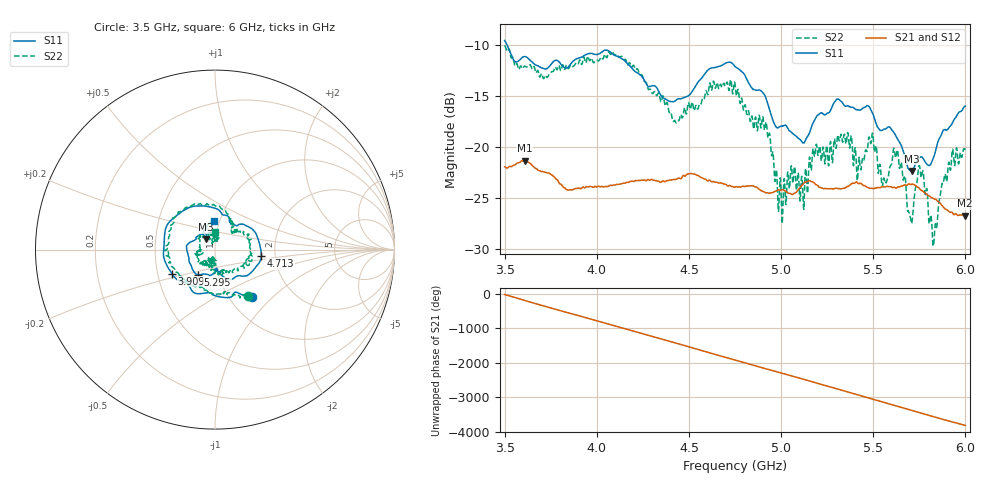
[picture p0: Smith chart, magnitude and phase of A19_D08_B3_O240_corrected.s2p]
! Created with skrf 1.9.0 (http://scikit-rf.org).
# Hz S RI R 50.0
!freq ReS11 ImS11 ReS21 ImS21 ReS12 ImS12 ReS22 ImS22
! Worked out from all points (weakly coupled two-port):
!   1601 points, 3.5 GHz to 6 GHz, reference 50 ohm
!   highest |S21| = -21.29 dB at 3.609 GHz (marker M1); lowest = -26.7 dB at 5.997 GHz (marker M2)
!   lowest |S11| = -22.3 dB at 5.709 GHz (marker M3), VSWR 1.17, Z = 45 + j5.28 ohm
!   |S11| at or under -10 dB: 3.514 GHz to end of sweep
!   |S22| runs from -29.7 to -10.0 dB; largest |S21 - S12| = 0.001
!   S11 on the Smith chart (normalised r, x): 3.5 GHz: 1.27, -0.75; 3.909 GHz: 0.59, -0.17; 4.713 GHz: 1.69, -0.13; 5.295 GHz: 0.80, -0.23; 6 GHz: 0.94, +0.31
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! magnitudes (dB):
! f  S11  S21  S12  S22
! 3.5 GHz  -9.5  -21.9  -21.9  -10.0
! 3.609 GHz  -11.1  -21.3  -21.3  -12.0
! 3.909 GHz  -11.2  -24.0  -24.0  -11.4
! 3.917 GHz  -11.2  -24.0  -24.0  -11.9
! 4.334 GHz  -14.5  -23.3  -23.3  -14.7
! 4.434 GHz  -15.3  -23.1  -23.1  -17.6
! 4.713 GHz  -11.7  -23.8  -23.8  -14.0
! 4.75 GHz  -12.1  -23.9  -23.8  -13.8
! 4.928 GHz  -15.8  -24.4  -24.4  -19.0
! 4.997 GHz  -17.9  -24.2  -24.2  -23.1
! 5.167 GHz  -17.9  -23.4  -23.3  -21.5
! 5.295 GHz  -15.4  -24.0  -24.0  -20.0
! 5.422 GHz  -16.3  -23.5  -23.6  -21.2
! 5.487 GHz  -16.3  -24.0  -24.0  -19.6
! 5.584 GHz  -18.0  -23.8  -23.8  -22.5
! 5.623 GHz  -18.9  -24.0  -24.0  -20.9
! 5.709 GHz  -22.3  -23.6  -23.6  -27.4
! 5.759 GHz  -20.9  -24.2  -24.2  -23.0
! 5.833 GHz  -20.7  -25.1  -25.0  -28.2
! 5.88 GHz  -18.3  -25.8  -25.8  -23.5
! 5.997 GHz  -16.0  -26.7  -26.6  -20.2
! 6 GHz  -16.0  -26.7  -26.6  -20.0
